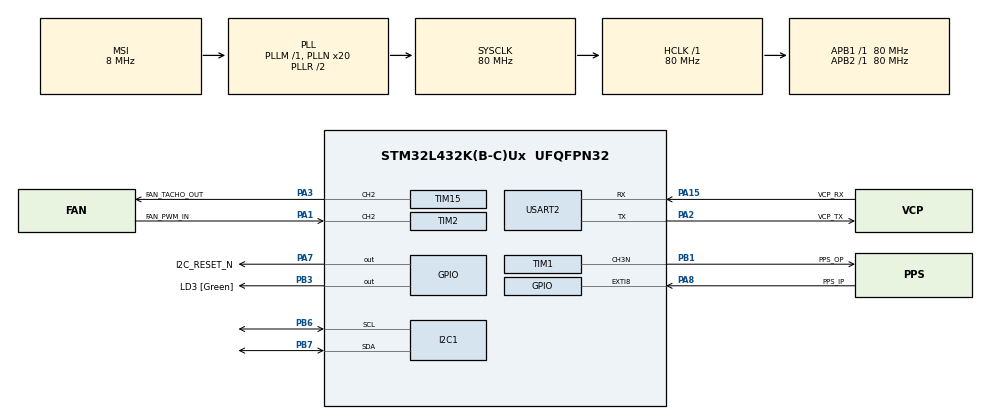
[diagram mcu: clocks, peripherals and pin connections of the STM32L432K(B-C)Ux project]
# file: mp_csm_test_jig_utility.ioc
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FREERTOS.INCLUDE_vTaskDelayUntil=1
FREERTOS.Mutexes01=iotI2cMutex,Dynamic,NULL
FREERTOS.Queues01=serialRxEvent,128,uint32_t,0,Dynamic,NULL,NULL;serialCmdRxData,128,uint32_t,0,Dynamic,NULL,NULL;serialCmdTxData,1024,uint32_t,0,Dynamic,NULL,NULL
FREERTOS.Tasks01=defaultTask,0,128,StartDefaultTask,Default,NULL,Dynamic,NULL,NULL;serialBufferTask,0,256,sbt_SerialBufferTask,As external,NULL,Dynamic,NULL,NULL;serialCmdTask,0,512,sct_SerialCmdTask,As external,NULL,Dynamic,NULL,NULL;ioTask,-2,256,iot_IoTask,As external,NULL,Dynamic,NULL,NULL
FREERTOS.configMAX_TASK_NAME_LEN=32
FREERTOS.configTOTAL_HEAP_SIZE=16384
FREERTOS.configUSE_TRACE_FACILITY=0
I2C1.Timing=0x10909CEC
Mcu.Family=STM32L4
Mcu.Name=STM32L432K(B-C)Ux
Mcu.Package=UFQFPN32
NVIC.EXTI9_5_IRQn=true\:5\:0\:true\:false\:true\:false\:true\:true
NVIC.PriorityGroup=NVIC_PRIORITYGROUP_4
NVIC.TIM1_UP_TIM16_IRQn=true\:0\:0\:false\:false\:true\:false\:false\:true
NVIC.TimeBase=TIM1_UP_TIM16_IRQn
NVIC.TimeBaseIP=TIM16
NVIC.USART2_IRQn=true\:5\:0\:true\:false\:true\:true\:true\:true
PA0.GPIO_Label=MCO [High speed clock in]
PA0.Signal=RCC_CK_IN
PA1.GPIO_Label=FAN_PWM_IN
PA1.Signal=S_TIM2_CH2
PA13\ (JTMS-SWDIO).GPIO_Label=SWDIO
PA13\ (JTMS-SWDIO).Mode=Serial_Wire
PA13\ (JTMS-SWDIO).Signal=SYS_JTMS-SWDIO
PA14\ (JTCK-SWCLK).GPIO_Label=SWCLK
PA14\ (JTCK-SWCLK).Mode=Serial_Wire
PA14\ (JTCK-SWCLK).Signal=SYS_JTCK-SWCLK
PA15\ (JTDI).GPIO_Label=VCP_RX
PA15\ (JTDI).Mode=Asynchronous
PA15\ (JTDI).Signal=USART2_RX
PA2.GPIO_Label=VCP_TX
PA2.Mode=Asynchronous
PA2.Signal=USART2_TX
PA3.GPIO_Label=FAN_TACHO_OUT
PA3.Signal=S_TIM15_CH2
PA7.GPIO_Label=I2C_RESET_N
PA7.PinState=GPIO_PIN_SET
PA7.Signal=GPIO_Output
PA8.GPIO_Label=PPS_IP
PA8.Signal=GPXTI8
PB1.GPIO_Label=PPS_OP
PB1.Mode=PWM Generation3 CH3N
PB1.Signal=TIM1_CH3N
PB3\ (JTDO-TRACESWO).GPIO_Label=LD3 [Green]
PB3\ (JTDO-TRACESWO).Signal=GPIO_Output
PB6.Mode=I2C
PB6.Signal=I2C1_SCL
PB7.Mode=I2C
PB7.Signal=I2C1_SDA
PC14-OSC32_IN\ (PC14).Mode=LSE-External-Oscillator
PC14-OSC32_IN\ (PC14).Signal=RCC_OSC32_IN
PC15-OSC32_OUT\ (PC15).Mode=LSE-External-Oscillator
PC15-OSC32_OUT\ (PC15).Signal=RCC_OSC32_OUT
ProjectManager.HeapSize=0x200
ProjectManager.StackSize=0x400
ProjectManager.TargetToolchain=STM32CubeIDE
RCC.ADCFreq_Value=32000000
RCC.AHBFreq_Value=80000000
RCC.APB1Freq_Value=80000000
RCC.APB1TimFreq_Value=80000000
RCC.APB2Freq_Value=80000000
RCC.APB2TimFreq_Value=80000000
RCC.CortexFreq_Value=80000000
RCC.HCLKFreq_Value=80000000
RCC.HSE_VALUE=8000000
RCC.HSI16_VALUE=16000000
RCC.HSI48_VALUE=48000000
RCC.HSI_VALUE=16000000
RCC.MSIClockRange=RCC_MSIRANGE_7
RCC.MSI_VALUE=8000000
RCC.PLLMUL=RCC_PLLMUL_4
RCC.PLLN=20
RCC.SYSCLKFreq_VALUE=80000000
RCC.SYSCLKSource=RCC_SYSCLKSOURCE_PLLCLK
RCC.USBFreq_Value=32000000
RCC.VCOOutputFreq_Value=160000000
SH.S_TIM15_CH2.0=TIM15_CH2,PWM Generation2 CH2
SH.S_TIM2_CH2.0=TIM2_CH2,PWM_Input_2
TIM1.Channel-PWM\ Generation3\ CH3N=TIM_CHANNEL_3
TIM1.OCFastMode_PWM-PWM\ Generation3\ CH3N=TIM_OCFAST_ENABLE
TIM1.Period=10000
TIM1.Prescaler=8000
TIM1.Pulse-PWM\ Generation3\ CH3N=100
TIM15.AutoReloadPreload=TIM_AUTORELOAD_PRELOAD_ENABLE
TIM15.Channel-PWM\ Generation2\ CH2=TIM_CHANNEL_2
TIM15.OCFastMode_PWM-PWM\ Generation2\ CH2=TIM_OCFAST_ENABLE
TIM15.Period=100
TIM15.Prescaler=1000
TIM15.Pulse-PWM\ Generation2\ CH2=50
TIM2.ICFilter_1=15
TIM2.ICFilter_2=15
TIM2.ICPolarity_1=TIM_INPUTCHANNELPOLARITY_FALLING
USART2.VirtualMode-Asynchronous=VM_ASYNC
VP_FREERTOS_VS_CMSIS_V1.Mode=CMSIS_V1
VP_SYS_VS_tim16.Mode=TIM16
VP_TIM1_VS_ClockSourceINT.Mode=Internal
VP_TIM2_VS_ClockSourceINT.Mode=Internal
board=NUCLEO-L432KC

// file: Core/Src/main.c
/* USER CODE BEGIN Header */
/**
  ******************************************************************************
  * @file           : main.c
  * @brief          : Main program body
  ******************************************************************************
  * @attention
  *
  * <h2><center>&copy; Copyright (c) 2022 STMicroelectronics.
  * All rights reserved.</center></h2>
  *
  * This software component is licensed by ST under BSD 3-Clause license,
  * the "License"; You may not use this file except in compliance with the
  * License. You may obtain a copy of the License at:
  *                        opensource.org/licenses/BSD-3-Clause
  *
  ******************************************************************************
  */
/* USER CODE END Header */
#include "main.h"
#include "cmsis_os.h"

/* USER CODE BEGIN Includes */
#include <string.h>
#include "serial_buffer_task.h"
#include "serial_cmd_task.h"
#include "io_task.h"
/* USER CODE END Includes */

I2C_HandleTypeDef hi2c1;

TIM_HandleTypeDef htim1;
TIM_HandleTypeDef htim2;
TIM_HandleTypeDef htim15;

UART_HandleTypeDef huart2;

osThreadId defaultTaskHandle;
osThreadId serialBufferTaskHandle;
osThreadId serialCmdTaskHandle;
osThreadId ioTaskHandle;
osMessageQId serialRxEventHandle;
osMessageQId serialCmdRxDataHandle;
osMessageQId serialCmdTxDataHandle;
osMutexId iotI2cMutexHandle;

void SystemClock_Config(void);
static void MX_GPIO_Init(void);
static void MX_I2C1_Init(void);
static void MX_USART2_UART_Init(void);
static void MX_TIM1_Init(void);
static void MX_TIM2_Init(void);
static void MX_TIM15_Init(void);
void StartDefaultTask(void const * argument);
extern void sbt_SerialBufferTask(void const * argument);
extern void sct_SerialCmdTask(void const * argument);
extern void iot_IoTask(void const * argument);

int main(void)
{
  /* USER CODE BEGIN 1 */
  sct_Init_t sct_init_data;
  sbt_Init_t sbt_init_data;
  iot_Init_t iot_init_data;
  /* USER CODE END 1 */

  /* MCU Configuration--------------------------------------------------------*/

  /* Reset of all peripherals, Initializes the Flash interface and the Systick. */
  HAL_Init();

  /* Configure the system clock */
  SystemClock_Config();

  /* Initialize all configured peripherals */
  MX_GPIO_Init();
  MX_I2C1_Init();
  MX_USART2_UART_Init();
  MX_TIM1_Init();
  MX_TIM2_Init();
  MX_TIM15_Init();

  /* Create the mutex(es) */
  /* definition and creation of iotI2cMutex */
  osMutexDef(iotI2cMutex);
  iotI2cMutexHandle = osMutexCreate(osMutex(iotI2cMutex));

  /* Create the queue(s) */
  /* definition and creation of serialRxEvent */
  osMessageQDef(serialRxEvent, 128, uint32_t);
  serialRxEventHandle = osMessageCreate(osMessageQ(serialRxEvent), NULL);

  /* definition and creation of serialCmdRxData */
  osMessageQDef(serialCmdRxData, 128, uint32_t);
  serialCmdRxDataHandle = osMessageCreate(osMessageQ(serialCmdRxData), NULL);

  /* definition and creation of serialCmdTxData */
  osMessageQDef(serialCmdTxData, 1024, uint32_t);
  serialCmdTxDataHandle = osMessageCreate(osMessageQ(serialCmdTxData), NULL);

  /* Create the thread(s) */
  /* definition and creation of defaultTask */
  osThreadDef(defaultTask, StartDefaultTask, osPriorityNormal, 0, 128);
  defaultTaskHandle = osThreadCreate(osThread(defaultTask), NULL);

  /* definition and creation of serialBufferTask */
  osThreadDef(serialBufferTask, sbt_SerialBufferTask, osPriorityNormal, 0, 256);
  serialBufferTaskHandle = osThreadCreate(osThread(serialBufferTask), NULL);

  /* definition and creation of serialCmdTask */
  osThreadDef(serialCmdTask, sct_SerialCmdTask, osPriorityNormal, 0, 512);
  serialCmdTaskHandle = osThreadCreate(osThread(serialCmdTask), NULL);

  /* definition and creation of ioTask */
  osThreadDef(ioTask, iot_IoTask, osPriorityLow, 0, 256);
  ioTaskHandle = osThreadCreate(osThread(ioTask), NULL);

  /* USER CODE BEGIN RTOS_THREADS */
  /* add threads, ... */
  sbt_init_data.rx_event_queue				= serialRxEventHandle;
  sbt_init_data.no_uarts					= 1;
  sbt_init_data.uarts[0].huart 				= &huart2;
  sbt_init_data.uarts[0].uart_rx_data_queue	= serialCmdRxDataHandle;
  sbt_init_data.uarts[0].uart_tx_data_queue = serialCmdTxDataHandle;
  sbt_InitTask(sbt_init_data);

  sct_init_data.tx_data_queue	= serialCmdTxDataHandle;
  sct_init_data.rx_data_queue	= serialCmdRxDataHandle;
  sct_InitTask(sct_init_data);

  iot_init_data.i2c_device				= &hi2c1;
  iot_init_data.i2c_mutex				= iotI2cMutexHandle;
  iot_init_data.i2c_reset_gpio_port 	= I2C_RESET_N_GPIO_Port;
  iot_init_data.i2c_reset_gpio_pin		= I2C_RESET_N_Pin;
  iot_init_data.csm_1pps_out_htim 		= &htim1;
  iot_init_data.csm_1pps_out_channel	= TIM_CHANNEL_3;
  iot_init_data.fan_tacho_out_htim		= &htim15;
  iot_init_data.fan_tacho_out_channel	= TIM_CHANNEL_2;
  iot_init_data.fan_pwm_htim			= &htim2;
  iot_init_data.csm_1pps_in_gpio_pin 	= PPS_IP_Pin;
  iot_init_data.csm_1pps_in_gpio_irq 	= PPS_IP_EXTI_IRQn;
  iot_InitTask(iot_init_data);
  /* USER CODE END RTOS_THREADS */

  /* Start scheduler */
  osKernelStart();

  /* We should never get here as control is now taken by the scheduler */
  /* Infinite loop */
  while (1)
  {

  }
}

void SystemClock_Config(void)
{
  RCC_OscInitTypeDef RCC_OscInitStruct = {0};
  RCC_ClkInitTypeDef RCC_ClkInitStruct = {0};
  RCC_PeriphCLKInitTypeDef PeriphClkInit = {0};

  /** Configure LSE Drive Capability
  */
  HAL_PWR_EnableBkUpAccess();
  __HAL_RCC_LSEDRIVE_CONFIG(RCC_LSEDRIVE_LOW);
  /** Initializes the RCC Oscillators according to the specified parameters
  * in the RCC_OscInitTypeDef structure.
  */
  RCC_OscInitStruct.OscillatorType = RCC_OSCILLATORTYPE_LSE|RCC_OSCILLATORTYPE_MSI;
  RCC_OscInitStruct.LSEState = RCC_LSE_ON;
  RCC_OscInitStruct.MSIState = RCC_MSI_ON;
  RCC_OscInitStruct.MSICalibrationValue = 0;
  RCC_OscInitStruct.MSIClockRange = RCC_MSIRANGE_7;
  RCC_OscInitStruct.PLL.PLLState = RCC_PLL_ON;
  RCC_OscInitStruct.PLL.PLLSource = RCC_PLLSOURCE_MSI;
  RCC_OscInitStruct.PLL.PLLM = 1;
  RCC_OscInitStruct.PLL.PLLN = 20;
  RCC_OscInitStruct.PLL.PLLP = RCC_PLLP_DIV7;
  RCC_OscInitStruct.PLL.PLLQ = RCC_PLLQ_DIV2;
  RCC_OscInitStruct.PLL.PLLR = RCC_PLLR_DIV2;
  if (HAL_RCC_OscConfig(&RCC_OscInitStruct) != HAL_OK)
  {
    Error_Handler();
  }
  /** Initializes the CPU, AHB and APB buses clocks
  */
  RCC_ClkInitStruct.ClockType = RCC_CLOCKTYPE_HCLK|RCC_CLOCKTYPE_SYSCLK
                              |RCC_CLOCKTYPE_PCLK1|RCC_CLOCKTYPE_PCLK2;
  RCC_ClkInitStruct.SYSCLKSource = RCC_SYSCLKSOURCE_PLLCLK;
  RCC_ClkInitStruct.AHBCLKDivider = RCC_SYSCLK_DIV1;
  RCC_ClkInitStruct.APB1CLKDivider = RCC_HCLK_DIV1;
  RCC_ClkInitStruct.APB2CLKDivider = RCC_HCLK_DIV1;

  if (HAL_RCC_ClockConfig(&RCC_ClkInitStruct, FLASH_LATENCY_4) != HAL_OK)
  {
    Error_Handler();
  }
  PeriphClkInit.PeriphClockSelection = RCC_PERIPHCLK_USART2|RCC_PERIPHCLK_I2C1;
  PeriphClkInit.Usart2ClockSelection = RCC_USART2CLKSOURCE_PCLK1;
  PeriphClkInit.I2c1ClockSelection = RCC_I2C1CLKSOURCE_PCLK1;
  if (HAL_RCCEx_PeriphCLKConfig(&PeriphClkInit) != HAL_OK)
  {
    Error_Handler();
  }
  /** Configure the main internal regulator output voltage
  */
  if (HAL_PWREx_ControlVoltageScaling(PWR_REGULATOR_VOLTAGE_SCALE1) != HAL_OK)
  {
    Error_Handler();
  }
  /** Enable MSI Auto calibration
  */
  HAL_RCCEx_EnableMSIPLLMode();
}

static void MX_I2C1_Init(void)
{

  hi2c1.Instance = I2C1;
  hi2c1.Init.Timing = 0x10909CEC;
  hi2c1.Init.OwnAddress1 = 0;
  hi2c1.Init.AddressingMode = I2C_ADDRESSINGMODE_7BIT;
  hi2c1.Init.DualAddressMode = I2C_DUALADDRESS_DISABLE;
  hi2c1.Init.OwnAddress2 = 0;
  hi2c1.Init.OwnAddress2Masks = I2C_OA2_NOMASK;
  hi2c1.Init.GeneralCallMode = I2C_GENERALCALL_DISABLE;
  hi2c1.Init.NoStretchMode = I2C_NOSTRETCH_DISABLE;
  if (HAL_I2C_Init(&hi2c1) != HAL_OK)
  {
    Error_Handler();
  }
  /** Configure Analogue filter
  */
  if (HAL_I2CEx_ConfigAnalogFilter(&hi2c1, I2C_ANALOGFILTER_ENABLE) != HAL_OK)
  {
    Error_Handler();
  }
  /** Configure Digital filter
  */
  if (HAL_I2CEx_ConfigDigitalFilter(&hi2c1, 0) != HAL_OK)
  {
    Error_Handler();
  }

}

static void MX_TIM1_Init(void)
{

  TIM_ClockConfigTypeDef sClockSourceConfig = {0};
  TIM_MasterConfigTypeDef sMasterConfig = {0};
  TIM_OC_InitTypeDef sConfigOC = {0};
  TIM_BreakDeadTimeConfigTypeDef sBreakDeadTimeConfig = {0};

  htim1.Instance = TIM1;
  htim1.Init.Prescaler = 8000;
  htim1.Init.CounterMode = TIM_COUNTERMODE_UP;
  htim1.Init.Period = 10000;
  htim1.Init.ClockDivision = TIM_CLOCKDIVISION_DIV1;
  htim1.Init.RepetitionCounter = 0;
  htim1.Init.AutoReloadPreload = TIM_AUTORELOAD_PRELOAD_DISABLE;
  if (HAL_TIM_Base_Init(&htim1) != HAL_OK)
  {
    Error_Handler();
  }
  sClockSourceConfig.ClockSource = TIM_CLOCKSOURCE_INTERNAL;
  if (HAL_TIM_ConfigClockSource(&htim1, &sClockSourceConfig) != HAL_OK)
  {
    Error_Handler();
  }
  if (HAL_TIM_PWM_Init(&htim1) != HAL_OK)
  {
    Error_Handler();
  }
  sMasterConfig.MasterOutputTrigger = TIM_TRGO_RESET;
  sMasterConfig.MasterOutputTrigger2 = TIM_TRGO2_RESET;
  sMasterConfig.MasterSlaveMode = TIM_MASTERSLAVEMODE_DISABLE;
  if (HAL_TIMEx_MasterConfigSynchronization(&htim1, &sMasterConfig) != HAL_OK)
  {
    Error_Handler();
  }
  sConfigOC.OCMode = TIM_OCMODE_PWM1;
  sConfigOC.Pulse = 100;
  sConfigOC.OCPolarity = TIM_OCPOLARITY_HIGH;
  sConfigOC.OCNPolarity = TIM_OCNPOLARITY_HIGH;
  sConfigOC.OCFastMode = TIM_OCFAST_ENABLE;
  sConfigOC.OCIdleState = TIM_OCIDLESTATE_RESET;
  sConfigOC.OCNIdleState = TIM_OCNIDLESTATE_RESET;
  if (HAL_TIM_PWM_ConfigChannel(&htim1, &sConfigOC, TIM_CHANNEL_3) != HAL_OK)
  {
    Error_Handler();
  }
  sBreakDeadTimeConfig.OffStateRunMode = TIM_OSSR_DISABLE;
  sBreakDeadTimeConfig.OffStateIDLEMode = TIM_OSSI_DISABLE;
  sBreakDeadTimeConfig.LockLevel = TIM_LOCKLEVEL_OFF;
  sBreakDeadTimeConfig.DeadTime = 0;
  sBreakDeadTimeConfig.BreakState = TIM_BREAK_DISABLE;
  sBreakDeadTimeConfig.BreakPolarity = TIM_BREAKPOLARITY_HIGH;
  sBreakDeadTimeConfig.BreakFilter = 0;
  sBreakDeadTimeConfig.Break2State = TIM_BREAK2_DISABLE;
  sBreakDeadTimeConfig.Break2Polarity = TIM_BREAK2POLARITY_HIGH;
  sBreakDeadTimeConfig.Break2Filter = 0;
  sBreakDeadTimeConfig.AutomaticOutput = TIM_AUTOMATICOUTPUT_DISABLE;
  if (HAL_TIMEx_ConfigBreakDeadTime(&htim1, &sBreakDeadTimeConfig) != HAL_OK)
  {
    Error_Handler();
  }
  HAL_TIM_MspPostInit(&htim1);

}

static void MX_TIM2_Init(void)
{

  TIM_ClockConfigTypeDef sClockSourceConfig = {0};
  TIM_SlaveConfigTypeDef sSlaveConfig = {0};
  TIM_IC_InitTypeDef sConfigIC = {0};
  TIM_MasterConfigTypeDef sMasterConfig = {0};

  htim2.Instance = TIM2;
  htim2.Init.Prescaler = 0;
  htim2.Init.CounterMode = TIM_COUNTERMODE_UP;
  htim2.Init.Period = 4294967295;
  htim2.Init.ClockDivision = TIM_CLOCKDIVISION_DIV1;
  htim2.Init.AutoReloadPreload = TIM_AUTORELOAD_PRELOAD_DISABLE;
  if (HAL_TIM_Base_Init(&htim2) != HAL_OK)
  {
    Error_Handler();
  }
  sClockSourceConfig.ClockSource = TIM_CLOCKSOURCE_INTERNAL;
  if (HAL_TIM_ConfigClockSource(&htim2, &sClockSourceConfig) != HAL_OK)
  {
    Error_Handler();
  }
  if (HAL_TIM_IC_Init(&htim2) != HAL_OK)
  {
    Error_Handler();
  }
  sSlaveConfig.SlaveMode = TIM_SLAVEMODE_RESET;
  sSlaveConfig.InputTrigger = TIM_TS_TI2FP2;
  sSlaveConfig.TriggerPolarity = TIM_INPUTCHANNELPOLARITY_RISING;
  sSlaveConfig.TriggerPrescaler = TIM_ICPSC_DIV1;
  sSlaveConfig.TriggerFilter = 15;
  if (HAL_TIM_SlaveConfigSynchro(&htim2, &sSlaveConfig) != HAL_OK)
  {
    Error_Handler();
  }
  sConfigIC.ICPolarity = TIM_INPUTCHANNELPOLARITY_FALLING;
  sConfigIC.ICSelection = TIM_ICSELECTION_INDIRECTTI;
  sConfigIC.ICPrescaler = TIM_ICPSC_DIV1;
  sConfigIC.ICFilter = 15;
  if (HAL_TIM_IC_ConfigChannel(&htim2, &sConfigIC, TIM_CHANNEL_1) != HAL_OK)
  {
    Error_Handler();
  }
  sConfigIC.ICPolarity = TIM_INPUTCHANNELPOLARITY_RISING;
  sConfigIC.ICSelection = TIM_ICSELECTION_DIRECTTI;
  if (HAL_TIM_IC_ConfigChannel(&htim2, &sConfigIC, TIM_CHANNEL_2) != HAL_OK)
  {
    Error_Handler();
  }
  sMasterConfig.MasterOutputTrigger = TIM_TRGO_RESET;
  sMasterConfig.MasterSlaveMode = TIM_MASTERSLAVEMODE_DISABLE;
  if (HAL_TIMEx_MasterConfigSynchronization(&htim2, &sMasterConfig) != HAL_OK)
  {
    Error_Handler();
  }

}

static void MX_TIM15_Init(void)
{

  TIM_MasterConfigTypeDef sMasterConfig = {0};
  TIM_OC_InitTypeDef sConfigOC = {0};
  TIM_BreakDeadTimeConfigTypeDef sBreakDeadTimeConfig = {0};

  htim15.Instance = TIM15;
  htim15.Init.Prescaler = 1000;
  htim15.Init.CounterMode = TIM_COUNTERMODE_UP;
  htim15.Init.Period = 100;
  htim15.Init.ClockDivision = TIM_CLOCKDIVISION_DIV1;
  htim15.Init.RepetitionCounter = 0;
  htim15.Init.AutoReloadPreload = TIM_AUTORELOAD_PRELOAD_ENABLE;
  if (HAL_TIM_PWM_Init(&htim15) != HAL_OK)
  {
    Error_Handler();
  }
  sMasterConfig.MasterOutputTrigger = TIM_TRGO_RESET;
  sMasterConfig.MasterSlaveMode = TIM_MASTERSLAVEMODE_DISABLE;
  if (HAL_TIMEx_MasterConfigSynchronization(&htim15, &sMasterConfig) != HAL_OK)
  {
    Error_Handler();
  }
  sConfigOC.OCMode = TIM_OCMODE_PWM1;
  sConfigOC.Pulse = 50;
  sConfigOC.OCPolarity = TIM_OCPOLARITY_HIGH;
  sConfigOC.OCNPolarity = TIM_OCNPOLARITY_HIGH;
  sConfigOC.OCFastMode = TIM_OCFAST_ENABLE;
  sConfigOC.OCIdleState = TIM_OCIDLESTATE_RESET;
  sConfigOC.OCNIdleState = TIM_OCNIDLESTATE_RESET;
  if (HAL_TIM_PWM_ConfigChannel(&htim15, &sConfigOC, TIM_CHANNEL_2) != HAL_OK)
  {
    Error_Handler();
  }
  sBreakDeadTimeConfig.OffStateRunMode = TIM_OSSR_DISABLE;
  sBreakDeadTimeConfig.OffStateIDLEMode = TIM_OSSI_DISABLE;
  sBreakDeadTimeConfig.LockLevel = TIM_LOCKLEVEL_OFF;
  sBreakDeadTimeConfig.DeadTime = 0;
  sBreakDeadTimeConfig.BreakState = TIM_BREAK_DISABLE;
  sBreakDeadTimeConfig.BreakPolarity = TIM_BREAKPOLARITY_HIGH;
  sBreakDeadTimeConfig.AutomaticOutput = TIM_AUTOMATICOUTPUT_DISABLE;
  if (HAL_TIMEx_ConfigBreakDeadTime(&htim15, &sBreakDeadTimeConfig) != HAL_OK)
  {
    Error_Handler();
  }
  HAL_TIM_MspPostInit(&htim15);

}

static void MX_USART2_UART_Init(void)
{

  huart2.Instance = USART2;
  huart2.Init.BaudRate = 115200;
  huart2.Init.WordLength = UART_WORDLENGTH_8B;
  huart2.Init.StopBits = UART_STOPBITS_1;
  huart2.Init.Parity = UART_PARITY_NONE;
  huart2.Init.Mode = UART_MODE_TX_RX;
  huart2.Init.HwFlowCtl = UART_HWCONTROL_NONE;
  huart2.Init.OverSampling = UART_OVERSAMPLING_16;
  huart2.Init.OneBitSampling = UART_ONE_BIT_SAMPLE_DISABLE;
  huart2.AdvancedInit.AdvFeatureInit = UART_ADVFEATURE_NO_INIT;
  if (HAL_UART_Init(&huart2) != HAL_OK)
  {
    Error_Handler();
  }

}

static void MX_GPIO_Init(void)
{
  GPIO_InitTypeDef GPIO_InitStruct = {0};

  /* GPIO Ports Clock Enable */
  __HAL_RCC_GPIOC_CLK_ENABLE();
  __HAL_RCC_GPIOA_CLK_ENABLE();
  __HAL_RCC_GPIOB_CLK_ENABLE();

  /*Configure GPIO pin Output Level */
  HAL_GPIO_WritePin(I2C_RESET_N_GPIO_Port, I2C_RESET_N_Pin, GPIO_PIN_SET);

  /*Configure GPIO pin Output Level */
  HAL_GPIO_WritePin(LD3_GPIO_Port, LD3_Pin, GPIO_PIN_RESET);

  /*Configure GPIO pin : I2C_RESET_N_Pin */
  GPIO_InitStruct.Pin = I2C_RESET_N_Pin;
  GPIO_InitStruct.Mode = GPIO_MODE_OUTPUT_PP;
  GPIO_InitStruct.Pull = GPIO_NOPULL;
  GPIO_InitStruct.Speed = GPIO_SPEED_FREQ_LOW;
  HAL_GPIO_Init(I2C_RESET_N_GPIO_Port, &GPIO_InitStruct);

  /*Configure GPIO pin : PPS_IP_Pin */
  GPIO_InitStruct.Pin = PPS_IP_Pin;
  GPIO_InitStruct.Mode = GPIO_MODE_IT_RISING;
  GPIO_InitStruct.Pull = GPIO_NOPULL;
  HAL_GPIO_Init(PPS_IP_GPIO_Port, &GPIO_InitStruct);

  /*Configure GPIO pin : LD3_Pin */
  GPIO_InitStruct.Pin = LD3_Pin;
  GPIO_InitStruct.Mode = GPIO_MODE_OUTPUT_PP;
  GPIO_InitStruct.Pull = GPIO_NOPULL;
  GPIO_InitStruct.Speed = GPIO_SPEED_FREQ_LOW;
  HAL_GPIO_Init(LD3_GPIO_Port, &GPIO_InitStruct);

  /* EXTI interrupt init*/
  HAL_NVIC_SetPriority(EXTI9_5_IRQn, 5, 0);
  HAL_NVIC_EnableIRQ(EXTI9_5_IRQn);

}

void StartDefaultTask(void const * argument)
{
  for(;;)
  {
    osDelay(1);
  }
}

void HAL_TIM_PeriodElapsedCallback(TIM_HandleTypeDef *htim)
{
  if (htim->Instance == TIM16) {
    HAL_IncTick();
  }
}

void Error_Handler(void)
{
}

/************************ (C) COPYRIGHT STMicroelectronics *****END OF FILE****/
